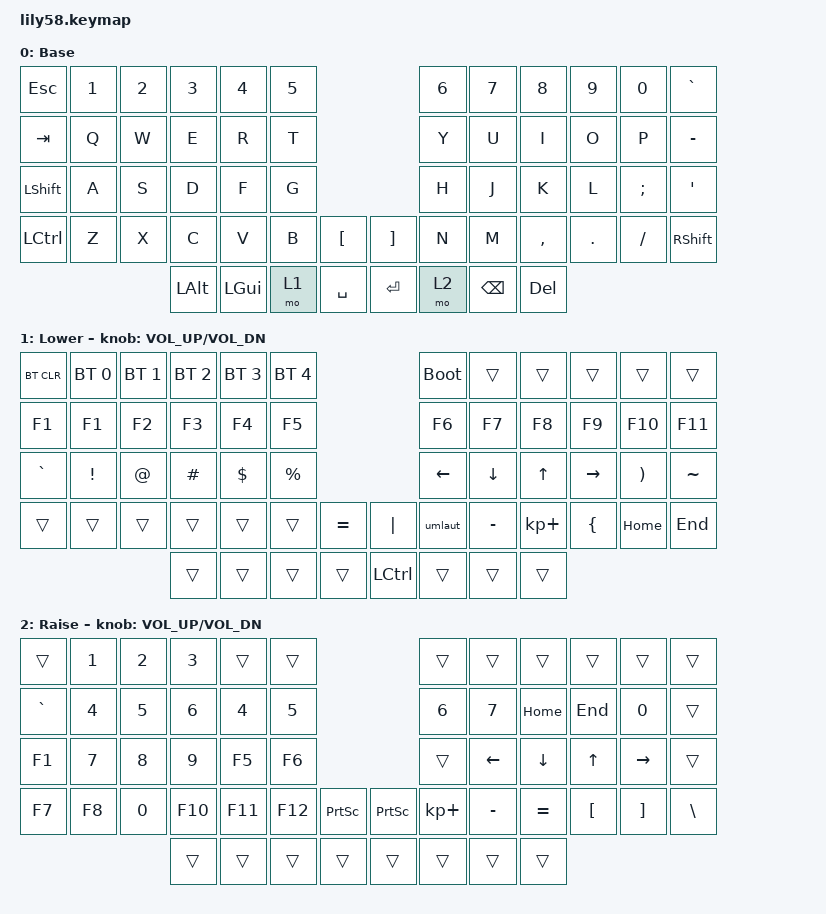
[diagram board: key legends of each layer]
/*
 * Copyright (c) 2020 The ZMK Contributors
 *
 * SPDX-License-Identifier: MIT
 */

#include <behaviors.dtsi>
#include <dt-bindings/zmk/bt.h>
#include <dt-bindings/zmk/keys.h>

/ {
    combos {
        compatible = "zmk,combos";

        umlaut {
            bindings = <&kp PRINTSCREEN>;
            key-positions = <35>;
            layers = <1>;
        };
    };

    macros {
        umlaut: umlaut {
            compatible = "zmk,behavior-macro";
            #binding-cells = <0>;
            bindings = <&kp PSCRN &kp DOUBLE_QUOTES>;
            label = "UMLAUT";
        };
    };

    keymap {
        compatible = "zmk,keymap";

        default_layer {
            // ------------------------------------------------------------------------------------------------------------
            // |  ESC  |  1  |  2  |  3   |  4   |  5   |                   |  6   |  7    |  8    |  9   |   0   |   `   |
            // |  TAB  |  Q  |  W  |  E   |  R   |  T   |                   |  Y   |  U    |  I    |  O   |   P   |   -   |
            // |  CTRL |  A  |  S  |  D   |  F   |  G   |                   |  H   |  J    |  K    |  L   |   ;   |   '   |
            // | SHIFT |  Z  |  X  |  C   |  V   |  B   |   "["  |  |  "]"  |  N   |  M    |  ,    |  .   |   /   | SHIFT |
            //                     | ALT  | GUI  | LOWER|  SPACE |  | ENTER | RAISE| BSPC  | GUI   |

            display-name = "Base";
            bindings = <
&kp ESC    &kp N1  &kp N2  &kp N3    &kp N4    &kp N5                           &kp N6  &kp N7         &kp N8     &kp N9   &kp N0    &kp GRAVE
&kp TAB    &kp Q   &kp W   &kp E     &kp R     &kp T                            &kp Y   &kp U          &kp I      &kp O    &kp P     &kp MINUS
&kp LSHFT  &kp A   &kp S   &kp D     &kp F     &kp G                            &kp H   &kp J          &kp K      &kp L    &kp SEMI  &kp SQT
&kp LCTRL  &kp Z   &kp X   &kp C     &kp V     &kp B   &kp LBKT     &kp RBKT    &kp N   &kp M          &kp COMMA  &kp DOT  &kp FSLH  &kp RSHFT
                           &kp LALT  &kp LGUI  &mo 1   &kp SPACE    &kp RETURN  &mo 2   &kp BACKSPACE  &kp DEL
            >;
        };

        lower_layer {
            // ------------------------------------------------------------------------------------------------------------
            // | BTCLR | BT1 | BT2 |  BT3 |  BT4 |  BT5 |                   |      |       |       |      |       |       |
            // |  F1   |  F2 |  F3 |  F4  |  F5  |  F6  |                   |  F7  |  F8   |  F9   |  F10 |  F11  |  F12  |
            // |   `   |  !  |  @  |  #   |  $   |  %   |                   |  ^   |  &    |  *    |  (   |   )   |   ~   |
            // |       |     |     |      |      |      |        |  |       |      |  _    |  +    |  {   |   }   |  "|"  |
            //                     |      |      |      |        |  |       |      |       |       |

            display-name = "Lower";
            bindings = <
&bt BT_CLR  &bt BT_SEL 0  &bt BT_SEL 1  &bt BT_SEL 2  &bt BT_SEL 3  &bt BT_SEL 4                          &bootloader  &trans     &trans       &trans     &trans    &trans
&kp F1      &kp F1        &kp F2        &kp F3        &kp F4        &kp F5                                &kp F6       &kp F7     &kp F8       &kp F9     &kp F10   &kp F11
&kp GRAVE   &kp EXCL      &kp AT        &kp HASH      &kp DOLLAR    &kp PRCNT                             &kp LEFT     &kp DOWN   &kp UP       &kp RIGHT  &kp RPAR  &kp TILDE
&trans      &trans        &trans        &trans        &trans        &trans        &kp EQUAL    &kp PIPE   &umlaut      &kp MINUS  &kp KP_PLUS  &kp LBRC   &kp HOME  &kp END
                                        &trans        &trans        &trans        &trans       &kp LCTRL  &trans       &trans     &trans
            >;

            sensor-bindings = <&inc_dec_kp C_VOL_UP C_VOL_DN>;
        };

        raise_layer {
            // ------------------------------------------------------------------------------------------------------------
            // |       |     |     |      |      |      |                   |      |       |       |      |       |       |
            // |   `   |  1  |  2  |  3   |  4   |  5   |                   |  6   |   7   |   8   |  9   |   0   |       |
            // |   F1  |  F2 |  F3 |  F4  |  F5  |  F6  |                   |      |   <-  |   v   |  ^   |  ->   |       |
            // |   F7  |  F8 |  F9 |  F10 |  F11 |  F12 |        |  |       |  +   |   -   |   =   |  [   |   ]   |   \   |
            //                     |      |      |      |        |  |       |      |       |       |

            display-name = "Raise";
            bindings = <
&trans     &kp N1  &kp N2  &kp N3   &trans   &trans                           &trans       &trans     &trans     &trans    &trans     &trans
&kp GRAVE  &kp N4  &kp N5  &kp N6   &kp N4   &kp N5                           &kp N6       &kp N7     &kp HOME   &kp END   &kp N0     &trans
&kp F1     &kp N7  &kp N8  &kp N9   &kp F5   &kp F6                           &trans       &kp LEFT   &kp DOWN   &kp UP    &kp RIGHT  &trans
&kp F7     &kp F8  &kp N0  &kp F10  &kp F11  &kp F12  &kp PSCRN    &kp PSCRN  &kp KP_PLUS  &kp MINUS  &kp EQUAL  &kp LBKT  &kp RBKT   &kp BSLH
                           &trans   &trans   &trans   &trans       &trans     &trans       &trans     &trans
            >;

            sensor-bindings = <&inc_dec_kp C_VOL_UP C_VOL_DN>;
        };

        extra_1 { status = "reserved"; };

        extra_2 { status = "reserved"; };

        extra_3 { status = "reserved"; };
    };
};
